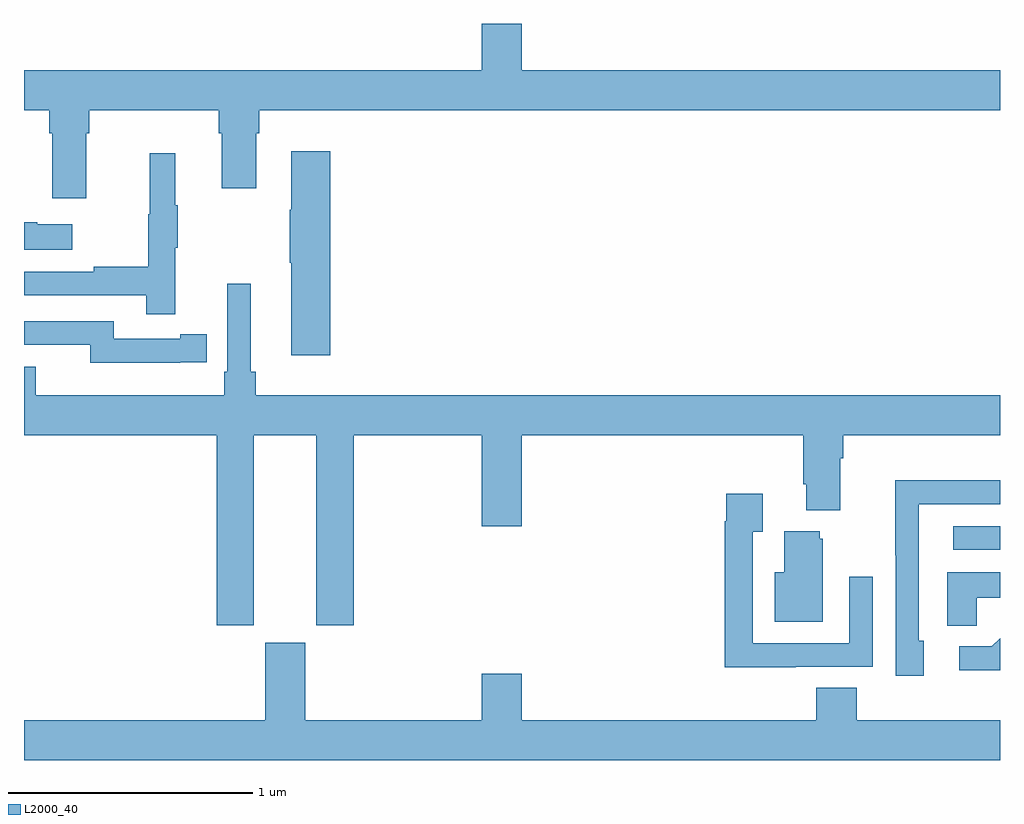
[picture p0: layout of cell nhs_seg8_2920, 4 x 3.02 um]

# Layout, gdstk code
import gdstk
lib = gdstk.Library(unit=1e-6, precision=1e-09)
def R(c, l, rs):  # rectangles x0, y0, x1, y1
    for r in rs: c.add(gdstk.rectangle(r[:2], r[2:], *l))
def P(c, l, *ps):  # polygons
    for p in ps: c.add(gdstk.Polygon(p, *l))
L2000_40 = (2000, 40)

nhs_seg8_2920 = lib.new_cell('nhs_seg8_2920')
R(nhs_seg8_2920, L2000_40, [(298.809,1089.39,299,1089.486)])
P(nhs_seg8_2920, L2000_40, [(295.255,1091.096),(295.268,1091.096),(295.268,1091.192),(295.799,1091.192),(295.799,1091.096),(295.811,1091.096),(295.811,1090.872),(295.951,1090.872),(295.951,1091.096),(295.964,1091.096),(295.964,1091.192),(299,1091.192),(299,1091.356),(297.04,1091.356),(297.04,1091.545),(296.876,1091.545),(296.876,1091.356),(295,1091.356),(295,1091.192),(295.103,1091.192),(295.103,1091.096),(295.115,1091.096),(295.115,1090.83),(295.255,1090.83)],
  [(296.255,1091.023),(296.096,1091.023),(296.096,1090.784),(296.089,1090.784),(296.089,1090.567),(296.096,1090.567),(296.096,1090.188),(296.255,1090.188)],
  [(295.619,1090.627),(295.63,1090.627),(295.63,1090.801),(295.619,1090.801),(295.619,1091.014),(295.516,1091.014),(295.516,1090.764),(295.509,1090.764),(295.509,1090.55),(295.285,1090.55),(295.285,1090.53),(295,1090.53),(295,1090.434),(295.501,1090.434),(295.501,1090.356),(295.619,1090.356)],
  [(295.198,1090.723),(295.055,1090.723),(295.055,1090.733),(295,1090.733),(295,1090.619),(295.198,1090.619)],
  [(295.942,1089.86),(296.198,1089.86),(296.198,1089.081),(296.351,1089.081),(296.351,1089.86),(296.876,1089.86),(296.876,1089.486),(297.04,1089.486),(297.04,1089.86),(298.193,1089.86),(298.193,1089.658),(298.205,1089.658),(298.205,1089.551),(298.345,1089.551),(298.345,1089.764),(298.358,1089.764),(298.358,1089.86),(299,1089.86),(299,1090.024),(295.949,1090.024),(295.949,1090.12),(295.93,1090.12),(295.93,1090.48),(295.833,1090.48),(295.833,1090.12),(295.82,1090.12),(295.82,1090.024),(295.048,1090.024),(295.048,1090.141),(295,1090.141),(295,1089.86),(295.79,1089.86),(295.79,1089.081),(295.942,1089.081)],
  [(295.64,1090.158),(295.748,1090.158),(295.748,1090.274),(295.64,1090.274),(295.64,1090.254),(295.368,1090.254),(295.368,1090.326),(295,1090.326),(295,1090.23),(295.272,1090.23),(295.272,1090.157),(295.64,1090.157)],
  [(298.687,1089.018),(298.668,1089.018),(298.668,1089.576),(299,1089.576),(299,1089.674),(298.57,1089.674),(298.57,1089.367),(298.572,1089.367),(298.572,1088.874),(298.687,1088.874)],
  [(298.163,1088.91),(298.479,1088.91),(298.479,1089.28),(298.383,1089.28),(298.383,1089.006),(297.987,1089.006),(297.987,1089.463),(298.027,1089.463),(298.027,1089.619),(297.879,1089.619),(297.879,1089.506),(297.871,1089.506),(297.871,1088.909),(298.163,1088.909)],
  [(298.273,1089.435),(298.262,1089.435),(298.262,1089.466),(298.115,1089.466),(298.115,1089.298),(298.076,1089.298),(298.076,1089.095),(298.273,1089.095)],
  [(298.905,1089.194),(299,1089.194),(299,1089.298),(298.784,1089.298),(298.784,1089.079),(298.905,1089.079)],
  [(299,1089.027),(298.967,1088.994),(298.833,1088.994),(298.833,1088.897),(299,1088.897)],
  [(299,1088.692),(298.412,1088.692),(298.412,1088.825),(298.247,1088.825),(298.247,1088.692),(297.04,1088.692),(297.04,1088.881),(296.876,1088.881),(296.876,1088.692),(296.152,1088.692),(296.152,1089.009),(295.988,1089.009),(295.988,1088.692),(295,1088.692),(295,1088.528),(299,1088.528)])

lib.write_gds('nhs_seg8_2920.gds')
